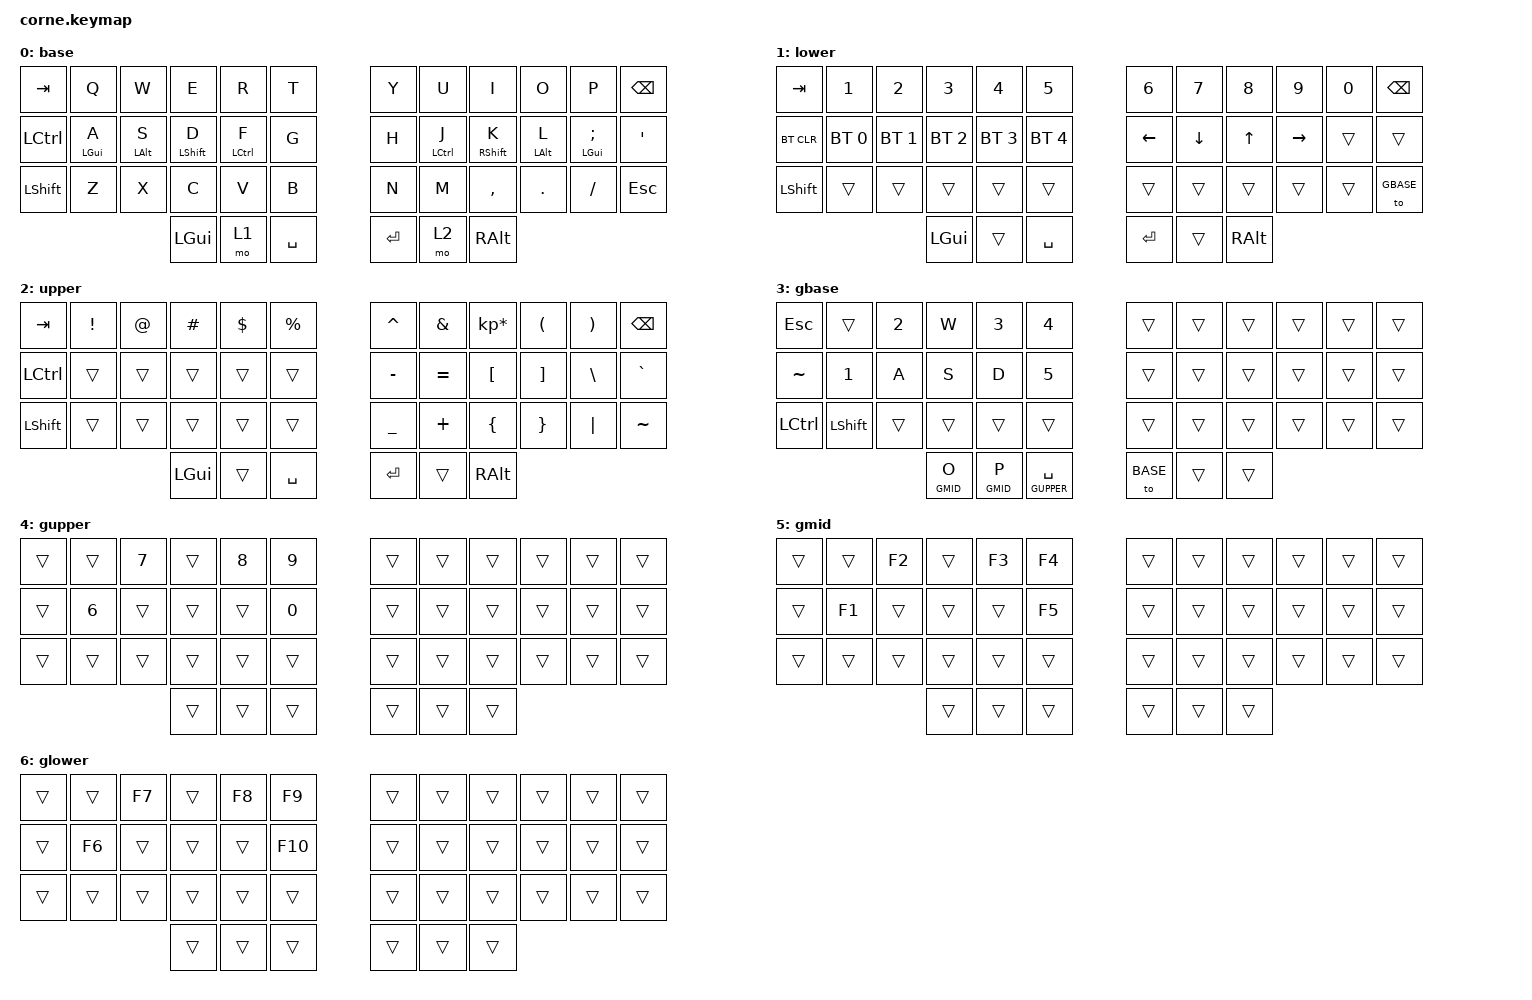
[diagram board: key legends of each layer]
/*
 * Copyright (c) 2020 The ZMK Contributors
 *
 * SPDX-License-Identifier: MIT
 */

#include <behaviors.dtsi>
#include <dt-bindings/zmk/keys.h>
#include <dt-bindings/zmk/bt.h>

#include "helper.h"
#include "42.h"                                      // Source key-labels.
#define KEYS_L LT0 LT1 LT2 LT3 LT4 LM0 LM1 LM2 LM3 LM4 LB0 LB1 LB2 LB3 LB4  // Left-hand keys.
#define KEYS_R RT0 RT1 RT2 RT3 RT4 RM0 RM1 RM2 RM3 RM4 RB0 RB1 RB2 RB3 RB4  // Right-hand keys.
#define THUMBS LH2 LH1 LH0 RH0 RH1 RH2                                      // Thumb keys.

#define BASE 0
#define LOWER 1
#define UPPER 2
#define GBASE 3
#define GUPPER 4
#define GMID 5
#define GLOWER 6

/* Left-hand HRMs. */
ZMK_HOLD_TAP(hml,
    flavor = "balanced";
    tapping-term-ms = <280>;
    quick-tap-ms = <175>;
    require-prior-idle-ms = <150>;
    bindings = <&kp>, <&kp>;
    hold-trigger-key-positions = <KEYS_R THUMBS>;
    hold-trigger-on-release;
)

/* Right-hand HRMs. */
ZMK_HOLD_TAP(hmr,
    flavor = "balanced";
    tapping-term-ms = <280>;
    quick-tap-ms = <175>;
    require-prior-idle-ms = <150>;
    bindings = <&kp>, <&kp>;
    hold-trigger-key-positions = <KEYS_L THUMBS>;
    hold-trigger-on-release;
)


// DEFAULT TYPING LAYERS
ZMK_LAYER(base,
//╭─────────────┬─────────────┬─────────────┬─────────────┬─────────────┬─────────────╮ ╭─────────────┬─────────────┬─────────────┬─────────────┬─────────────┬─────────────╮
     &kp TAB          &kp Q        &kp W         &kp E        &kp R           &kp T            &kp Y        &kp U         &kp I         &kp O        &kp P        &kp BSPC
//├─────────────┼─────────────┼─────────────┼─────────────┼─────────────┼─────────────┤ ├─────────────┼─────────────┼─────────────┼─────────────┼─────────────┼─────────────┤
    &kp LCTRL     &hml LGUI A   &hml LALT S   &hml LSHFT D  &hml LCTRL F     &kp G          &kp H       &hmr LCTRL J  &hmr RSHFT K   &hmr LALT L &hmr LGUI SEMI    &kp SQT
//├─────────────┼─────────────┼─────────────┼─────────────┼─────────────┼─────────────┤ ├─────────────┼─────────────┼─────────────┼─────────────┼─────────────┼─────────────┤
     &kp LSHFT       &kp Z        &kp X         &kp C          &kp V         &kp B          &kp N          &kp M       &kp COMMA     &kp DOT       &kp FSLH        &kp ESC
//╰─────────────┴─────────────┴─────────────┼─────────────┼─────────────┼─────────────┤ ├─────────────┼─────────────┼─────────────┼─────────────┴─────────────┴─────────────╯
                                                &kp LGUI       &mo 1      &kp SPACE        &kp RET         &mo 2        &kp RALT
//                                          ╰─────────────┴─────────────┴─────────────╯ ╰─────────────┴─────────────┴─────────────╯
)

ZMK_LAYER(lower,
//╭─────────────┬─────────────┬─────────────┬─────────────┬─────────────┬─────────────╮ ╭─────────────┬─────────────┬─────────────┬─────────────┬─────────────┬─────────────╮
      &kp TAB       &kp N1         &kp N2       &kp N3        &kp N4        &kp N5           &kp N6        &kp N7        &kp N8       &kp N9          &kp N0      &kp BSPC
//├─────────────┼─────────────┼─────────────┼─────────────┼─────────────┼─────────────┤ ├─────────────┼─────────────┼─────────────┼─────────────┼─────────────┼─────────────┤
   &bt BT_CLR     &bt BT_SEL 0 &bt BT_SEL 1   &bt BT_SEL 2  &bt BT_SEL 3  &bt BT_SEL 4    &kp LEFT        &kp DOWN       &kp UP       &kp RIGHT      &trans        &trans
//├─────────────┼─────────────┼─────────────┼─────────────┼─────────────┼─────────────┤ ├─────────────┼─────────────┼─────────────┼─────────────┼─────────────┼─────────────┤
     &kp LSHFT      &trans         &trans       &trans        &trans        &trans          &trans         &trans       &trans         &trans        &trans      &to GBASE
//╰─────────────┴─────────────┴─────────────┼─────────────┼─────────────┼─────────────┤ ├─────────────┼─────────────┼─────────────┼─────────────┴─────────────┴─────────────╯
                          	                   &kp LGUI        &trans       &kp SPACE        &kp RET      &trans       &kp RALT
//                                          ╰─────────────┴─────────────┴─────────────╯ ╰─────────────┴─────────────┴─────────────╯
)

ZMK_LAYER(upper,
//╭─────────────┬─────────────┬─────────────┬─────────────┬─────────────┬─────────────╮ ╭─────────────┬─────────────┬─────────────┬─────────────┬─────────────┬─────────────╮
     &kp  TAB      &kp EXCL        &kp AT      &kp HASH      &kp DLLR       &kp PRCNT      &kp CARET      &kp AMPS  &kp KP_MULTIPLY   &kp LPAR     &kp RPAR      &kp BSPC
//├─────────────┼─────────────┼─────────────┼─────────────┼─────────────┼─────────────┤ ├─────────────┼─────────────┼─────────────┼─────────────┼─────────────┼─────────────┤
     &kp LCTRL      &trans        &trans        &trans         &trans        &trans        &kp MINUS      &kp EQUAL     &kp LBKT      &kp RBKT      &kp BSLH     &kp GRAVE
//├─────────────┼─────────────┼─────────────┼─────────────┼─────────────┼─────────────┤ ├─────────────┼─────────────┼─────────────┼─────────────┼─────────────┼─────────────┤
     &kp LSHFT      &trans        &trans        &trans         &trans         &trans       &kp UNDER      &kp PLUS       &kp LBRC     &kp RBRC      &kp PIPE     &kp TILDE
//╰─────────────┴─────────────┴─────────────┼─────────────┼─────────────┼─────────────┤ ├─────────────┼─────────────┼─────────────┼─────────────┴─────────────┴─────────────╯
                    	                       &kp LGUI        &trans       &kp SPACE        &kp RET        &trans      &kp RALT
//                                          ╰─────────────┴─────────────┴─────────────╯ ╰─────────────┴─────────────┴─────────────╯
)


// GAMING
ZMK_LAYER(gbase,
//╭─────────────┬─────────────┬─────────────┬─────────────┬─────────────┬─────────────╮ ╭─────────────┬─────────────┬─────────────┬─────────────┬─────────────┬─────────────╮
     &kp ESC        &trans       &kp N2        &kp W         &kp N3        &kp N4          &trans        &trans         &trans        &trans       &trans       &trans
//├─────────────┼─────────────┼─────────────┼─────────────┼─────────────┼─────────────┤ ├─────────────┼─────────────┼─────────────┼─────────────┼─────────────┼─────────────┤
     &kp TILDE       &kp N1       &kp A         &kp S          &kp D        &kp N5          &trans        &trans         &trans        &trans       &trans       &trans
//├─────────────┼─────────────┼─────────────┼─────────────┼─────────────┼─────────────┤ ├─────────────┼─────────────┼─────────────┼─────────────┼─────────────┼─────────────┤
    &kp LCTRL     &kp LSHFT      &trans        &trans        &trans        &trans          &trans        &trans         &trans        &trans       &trans       &trans
//╰─────────────┴─────────────┴─────────────┼─────────────┼─────────────┼─────────────┤ ├─────────────┼─────────────┼─────────────┼─────────────┴─────────────┴─────────────╯
                                              &lt GMID O    &lt GMID P  &lt GUPPER SPACE   &to BASE        &trans         &trans
//                                          ╰─────────────┴─────────────┴─────────────╯ ╰─────────────┴─────────────┴─────────────╯
)

ZMK_LAYER(gupper,
//╭─────────────┬─────────────┬─────────────┬─────────────┬─────────────┬─────────────╮ ╭─────────────┬─────────────┬─────────────┬─────────────┬─────────────┬─────────────╮
     &trans          &trans       &kp N7        &trans        &kp N8        &kp N9          &trans        &trans         &trans        &trans       &trans       &trans
//├─────────────┼─────────────┼─────────────┼─────────────┼─────────────┼─────────────┤ ├─────────────┼─────────────┼─────────────┼─────────────┼─────────────┼─────────────┤
     &trans          &kp N6       &trans        &trans        &trans        &kp N0          &trans        &trans         &trans        &trans       &trans       &trans
//├─────────────┼─────────────┼─────────────┼─────────────┼─────────────┼─────────────┤ ├─────────────┼─────────────┼─────────────┼─────────────┼─────────────┼─────────────┤
     &trans          &trans       &trans        &trans        &trans        &trans          &trans        &trans         &trans        &trans       &trans       &trans
//╰─────────────┴─────────────┴─────────────┼─────────────┼─────────────┼─────────────┤ ├─────────────┼─────────────┼─────────────┼─────────────┴─────────────┴─────────────╯
                                                &trans        &trans        &trans          &trans        &trans         &trans
//                                          ╰─────────────┴─────────────┴─────────────╯ ╰─────────────┴─────────────┴─────────────╯
)

ZMK_LAYER(gmid,
//╭─────────────┬─────────────┬─────────────┬─────────────┬─────────────┬─────────────╮ ╭─────────────┬─────────────┬─────────────┬─────────────┬─────────────┬─────────────╮
     &trans          &trans       &kp F2        &trans        &kp F3        &kp F4          &trans        &trans         &trans        &trans       &trans       &trans
//├─────────────┼─────────────┼─────────────┼─────────────┼─────────────┼─────────────┤ ├─────────────┼─────────────┼─────────────┼─────────────┼─────────────┼─────────────┤
     &trans          &kp F1       &trans        &trans        &trans        &kp F5          &trans        &trans         &trans        &trans       &trans       &trans
//├─────────────┼─────────────┼─────────────┼─────────────┼─────────────┼─────────────┤ ├─────────────┼─────────────┼─────────────┼─────────────┼─────────────┼─────────────┤
     &trans          &trans       &trans        &trans        &trans        &trans          &trans        &trans         &trans        &trans       &trans       &trans
//╰─────────────┴─────────────┴─────────────┼─────────────┼─────────────┼─────────────┤ ├─────────────┼─────────────┼─────────────┼─────────────┴─────────────┴─────────────╯
                                                &trans        &trans        &trans          &trans        &trans         &trans
//                                          ╰─────────────┴─────────────┴─────────────╯ ╰─────────────┴─────────────┴─────────────╯
)

ZMK_LAYER(glower,
//╭─────────────┬─────────────┬─────────────┬─────────────┬─────────────┬─────────────╮ ╭─────────────┬─────────────┬─────────────┬─────────────┬─────────────┬─────────────╮
     &trans          &trans       &kp F7        &trans        &kp F8        &kp F9          &trans        &trans         &trans        &trans       &trans       &trans
//├─────────────┼─────────────┼─────────────┼─────────────┼─────────────┼─────────────┤ ├─────────────┼─────────────┼─────────────┼─────────────┼─────────────┼─────────────┤
     &trans          &kp F6       &trans        &trans        &trans        &kp F10          &trans        &trans         &trans        &trans       &trans       &trans
//├─────────────┼─────────────┼─────────────┼─────────────┼─────────────┼─────────────┤ ├─────────────┼─────────────┼─────────────┼─────────────┼─────────────┼─────────────┤
     &trans          &trans       &trans        &trans        &trans        &trans          &trans        &trans         &trans        &trans       &trans       &trans
//╰─────────────┴─────────────┴─────────────┼─────────────┼─────────────┼─────────────┤ ├─────────────┼─────────────┼─────────────┼─────────────┴─────────────┴─────────────╯
                                                &trans        &trans        &trans          &trans        &trans         &trans
//                                          ╰─────────────┴─────────────┴─────────────╯ ╰─────────────┴─────────────┴─────────────╯
)
